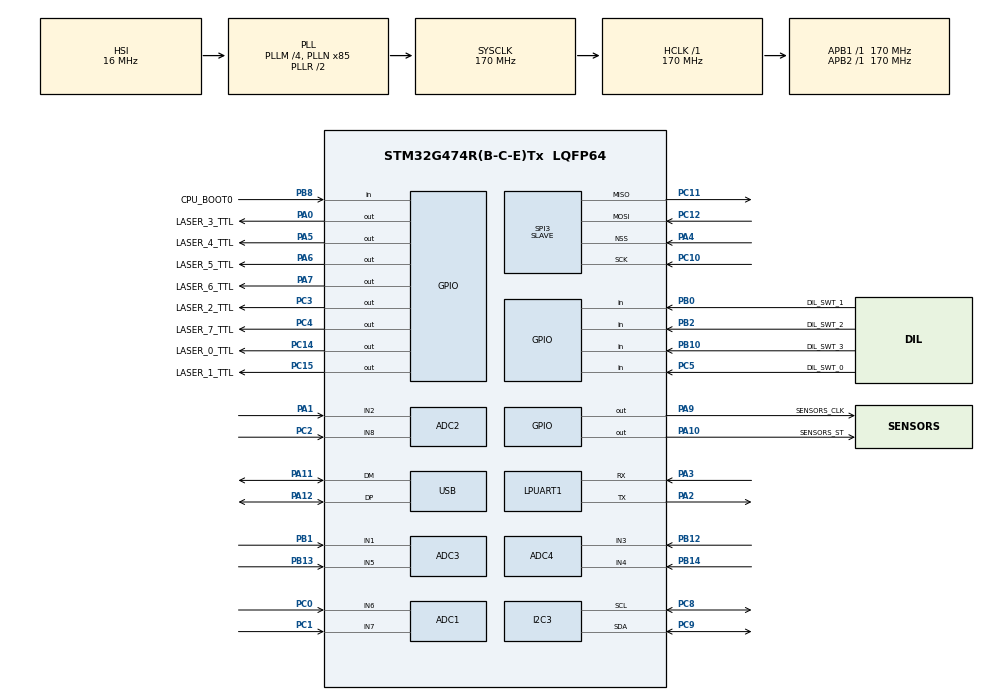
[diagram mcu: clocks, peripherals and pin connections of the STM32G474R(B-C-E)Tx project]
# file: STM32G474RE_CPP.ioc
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ADC1.Channel-21\#ChannelRegularConversion=ADC_CHANNEL_6
ADC1.NbrOfConversionFlag=1
ADC1.OffsetNumber-21\#ChannelRegularConversion=ADC_OFFSET_NONE
ADC1.Rank-21\#ChannelRegularConversion=1
ADC1.SamplingTime-21\#ChannelRegularConversion=ADC_SAMPLETIME_2CYCLES_5
ADC1.master=1
ADC2.Channel-1\#ChannelRegularConversion=ADC_CHANNEL_8
ADC2.NbrOfConversionFlag=1
ADC2.OffsetNumber-1\#ChannelRegularConversion=ADC_OFFSET_NONE
ADC2.Rank-1\#ChannelRegularConversion=1
ADC2.SamplingTime-1\#ChannelRegularConversion=ADC_SAMPLETIME_2CYCLES_5
ADC3.Channel-2\#ChannelRegularConversion=ADC_CHANNEL_5
ADC3.ExternalTrigConv=ADC_EXTERNALTRIG_T1_TRGO2
ADC3.NbrOfConversionFlag=1
ADC3.OffsetNumber-2\#ChannelRegularConversion=ADC_OFFSET_NONE
ADC3.Rank-2\#ChannelRegularConversion=1
ADC3.SamplingTime-2\#ChannelRegularConversion=ADC_SAMPLETIME_2CYCLES_5
ADC3.master=1
ADC4.Channel-1\#ChannelRegularConversion=ADC_CHANNEL_4
ADC4.ExternalTrigConv=ADC_EXTERNALTRIG_T1_TRGO2
ADC4.NbrOfConversionFlag=1
ADC4.OffsetNumber-1\#ChannelRegularConversion=ADC_OFFSET_NONE
ADC4.Rank-1\#ChannelRegularConversion=1
ADC4.SamplingTime-1\#ChannelRegularConversion=ADC_SAMPLETIME_2CYCLES_5
Dma.ADC1.0.Direction=DMA_PERIPH_TO_MEMORY
Dma.ADC1.0.EventEnable=DISABLE
Dma.ADC1.0.Instance=DMA1_Channel1
Dma.ADC1.0.MemDataAlignment=DMA_MDATAALIGN_HALFWORD
Dma.ADC1.0.MemInc=DMA_MINC_ENABLE
Dma.ADC1.0.Mode=DMA_NORMAL
Dma.ADC1.0.PeriphDataAlignment=DMA_PDATAALIGN_HALFWORD
Dma.ADC1.0.PeriphInc=DMA_PINC_DISABLE
Dma.ADC1.0.Polarity=HAL_DMAMUX_REQ_GEN_RISING
Dma.ADC1.0.Priority=DMA_PRIORITY_HIGH
Dma.ADC1.0.RequestNumber=1
Dma.ADC1.0.SignalID=NONE
Dma.ADC1.0.SyncEnable=DISABLE
Dma.ADC1.0.SyncPolarity=HAL_DMAMUX_SYNC_NO_EVENT
Dma.ADC1.0.SyncRequestNumber=1
Dma.ADC1.0.SyncSignalID=NONE
Dma.ADC2.1.Direction=DMA_PERIPH_TO_MEMORY
Dma.ADC2.1.EventEnable=DISABLE
Dma.ADC2.1.Instance=DMA1_Channel2
Dma.ADC2.1.MemDataAlignment=DMA_MDATAALIGN_HALFWORD
Dma.ADC2.1.MemInc=DMA_MINC_ENABLE
Dma.ADC2.1.Mode=DMA_NORMAL
Dma.ADC2.1.PeriphDataAlignment=DMA_PDATAALIGN_HALFWORD
Dma.ADC2.1.PeriphInc=DMA_PINC_DISABLE
Dma.ADC2.1.Polarity=HAL_DMAMUX_REQ_GEN_RISING
Dma.ADC2.1.Priority=DMA_PRIORITY_HIGH
Dma.ADC2.1.RequestNumber=1
Dma.ADC2.1.SignalID=NONE
Dma.ADC2.1.SyncEnable=DISABLE
Dma.ADC2.1.SyncPolarity=HAL_DMAMUX_SYNC_NO_EVENT
Dma.ADC2.1.SyncRequestNumber=1
Dma.ADC2.1.SyncSignalID=NONE
Dma.ADC3.2.Direction=DMA_PERIPH_TO_MEMORY
Dma.ADC3.2.EventEnable=DISABLE
Dma.ADC3.2.Instance=DMA1_Channel3
Dma.ADC3.2.MemDataAlignment=DMA_MDATAALIGN_HALFWORD
Dma.ADC3.2.MemInc=DMA_MINC_ENABLE
Dma.ADC3.2.Mode=DMA_NORMAL
Dma.ADC3.2.PeriphDataAlignment=DMA_PDATAALIGN_HALFWORD
Dma.ADC3.2.PeriphInc=DMA_PINC_DISABLE
Dma.ADC3.2.Polarity=HAL_DMAMUX_REQ_GEN_RISING
Dma.ADC3.2.Priority=DMA_PRIORITY_HIGH
Dma.ADC3.2.RequestNumber=1
Dma.ADC3.2.SignalID=NONE
Dma.ADC3.2.SyncEnable=DISABLE
Dma.ADC3.2.SyncPolarity=HAL_DMAMUX_SYNC_NO_EVENT
Dma.ADC3.2.SyncRequestNumber=1
Dma.ADC3.2.SyncSignalID=NONE
Dma.ADC4.3.Direction=DMA_PERIPH_TO_MEMORY
Dma.ADC4.3.EventEnable=DISABLE
Dma.ADC4.3.Instance=DMA1_Channel4
Dma.ADC4.3.MemDataAlignment=DMA_MDATAALIGN_HALFWORD
Dma.ADC4.3.MemInc=DMA_MINC_ENABLE
Dma.ADC4.3.Mode=DMA_NORMAL
Dma.ADC4.3.PeriphDataAlignment=DMA_PDATAALIGN_HALFWORD
Dma.ADC4.3.PeriphInc=DMA_PINC_DISABLE
Dma.ADC4.3.Polarity=HAL_DMAMUX_REQ_GEN_RISING
Dma.ADC4.3.Priority=DMA_PRIORITY_HIGH
Dma.ADC4.3.RequestNumber=1
Dma.ADC4.3.SignalID=NONE
Dma.ADC4.3.SyncEnable=DISABLE
Dma.ADC4.3.SyncPolarity=HAL_DMAMUX_SYNC_NO_EVENT
Dma.ADC4.3.SyncRequestNumber=1
Dma.ADC4.3.SyncSignalID=NONE
Dma.Request0=ADC1
Dma.Request1=ADC2
Dma.Request2=ADC3
Dma.Request3=ADC4
Dma.Request4=SPI3_RX
Dma.Request5=SPI3_TX
Dma.SPI3_RX.4.Direction=DMA_PERIPH_TO_MEMORY
Dma.SPI3_RX.4.EventEnable=DISABLE
Dma.SPI3_RX.4.Instance=DMA1_Channel5
Dma.SPI3_RX.4.MemDataAlignment=DMA_MDATAALIGN_BYTE
Dma.SPI3_RX.4.MemInc=DMA_MINC_ENABLE
Dma.SPI3_RX.4.Mode=DMA_NORMAL
Dma.SPI3_RX.4.PeriphDataAlignment=DMA_PDATAALIGN_BYTE
Dma.SPI3_RX.4.PeriphInc=DMA_PINC_DISABLE
Dma.SPI3_RX.4.Polarity=HAL_DMAMUX_REQ_GEN_RISING
Dma.SPI3_RX.4.Priority=DMA_PRIORITY_MEDIUM
Dma.SPI3_RX.4.RequestNumber=1
Dma.SPI3_RX.4.SignalID=NONE
Dma.SPI3_RX.4.SyncEnable=DISABLE
Dma.SPI3_RX.4.SyncPolarity=HAL_DMAMUX_SYNC_NO_EVENT
Dma.SPI3_RX.4.SyncRequestNumber=1
Dma.SPI3_RX.4.SyncSignalID=NONE
Dma.SPI3_TX.5.Direction=DMA_MEMORY_TO_PERIPH
Dma.SPI3_TX.5.EventEnable=DISABLE
Dma.SPI3_TX.5.Instance=DMA1_Channel6
Dma.SPI3_TX.5.MemDataAlignment=DMA_MDATAALIGN_BYTE
Dma.SPI3_TX.5.MemInc=DMA_MINC_ENABLE
Dma.SPI3_TX.5.Mode=DMA_NORMAL
Dma.SPI3_TX.5.PeriphDataAlignment=DMA_PDATAALIGN_BYTE
Dma.SPI3_TX.5.PeriphInc=DMA_PINC_DISABLE
Dma.SPI3_TX.5.Polarity=HAL_DMAMUX_REQ_GEN_RISING
Dma.SPI3_TX.5.Priority=DMA_PRIORITY_MEDIUM
Dma.SPI3_TX.5.RequestNumber=1
Dma.SPI3_TX.5.SignalID=NONE
Dma.SPI3_TX.5.SyncEnable=DISABLE
Dma.SPI3_TX.5.SyncPolarity=HAL_DMAMUX_SYNC_NO_EVENT
Dma.SPI3_TX.5.SyncRequestNumber=1
Dma.SPI3_TX.5.SyncSignalID=NONE
I2C3.Timing=0x40B285C2
Mcu.Family=STM32G4
Mcu.Name=STM32G474R(B-C-E)Tx
Mcu.Package=LQFP64
NUCLEO-G474RE.BUTTON=0
NUCLEO-G474RE.Bsp_Common_DEMO=true
NUCLEO-G474RE.LD2=false
NUCLEO-G474RE.VCP=false
NVIC.DMA1_Channel1_IRQn=true\:0\:0\:false\:false\:true\:false\:true\:true
NVIC.DMA1_Channel2_IRQn=true\:0\:0\:false\:false\:true\:false\:true\:true
NVIC.DMA1_Channel3_IRQn=true\:0\:0\:false\:false\:true\:false\:true\:true
NVIC.DMA1_Channel4_IRQn=true\:0\:0\:false\:false\:true\:false\:true\:true
NVIC.DMA1_Channel5_IRQn=true\:0\:0\:false\:false\:true\:false\:true\:true
NVIC.DMA1_Channel6_IRQn=true\:0\:0\:false\:false\:true\:false\:true\:true
NVIC.PriorityGroup=NVIC_PRIORITYGROUP_4
PA0.GPIO_Label=LASER_3_TTL
PA0.Signal=GPIO_Output
PA1.Mode=IN2-Single-Ended
PA1.Signal=ADC2_IN2
PA10.GPIO_Label=SENSORS_ST
PA10.Signal=GPIO_Output
PA11.Mode=Device
PA11.Signal=USB_DM
PA12.Mode=Device
PA12.Signal=USB_DP
PA13.GPIO_Label=T_SWDIO
PA13.Mode=JTAG_5_pins
PA13.Signal=SYS_JTMS-SWDIO
PA14.GPIO_Label=T_SWCLK
PA14.Mode=JTAG_5_pins
PA14.Signal=SYS_JTCK-SWCLK
PA15.Mode=JTAG_5_pins
PA15.Signal=SYS_JTDI
PA2.Mode=Asynchronous
PA2.Signal=LPUART1_TX
PA3.Mode=Asynchronous
PA3.Signal=LPUART1_RX
PA4.Mode=NSS_Signal_Hard_Input
PA4.Signal=SPI3_NSS
PA5.GPIO_Label=LASER_4_TTL
PA5.Signal=GPIO_Output
PA6.GPIO_Label=LASER_5_TTL
PA6.Signal=GPIO_Output
PA7.GPIO_Label=LASER_6_TTL
PA7.Signal=GPIO_Output
PA9.GPIO_Label=SENSORS_CLK
PA9.Signal=GPIO_Output
PB0.GPIO_Label=DIL_SWT_1
PB0.Signal=GPIO_Input
PB1.Mode=IN1-Single-Ended
PB1.Signal=ADC3_IN1
PB10.GPIO_Label=DIL_SWT_3
PB10.Signal=GPIO_Input
PB12.Mode=IN3-Single-Ended
PB12.Signal=ADC4_IN3
PB13.Mode=IN5-Single-Ended
PB13.Signal=ADC3_IN5
PB14.Mode=IN4-Single-Ended
PB14.Signal=ADC4_IN4
PB2.GPIO_Label=DIL_SWT_2
PB2.Signal=GPIO_Input
PB3.Mode=JTAG_5_pins
PB3.Signal=SYS_JTDO-SWO
PB4.Mode=JTAG_5_pins
PB4.Signal=SYS_JTRST
PB8-BOOT0.GPIO_Label=CPU_BOOT0
PB8-BOOT0.Signal=GPIO_Input
PC0.Mode=IN6-Single-Ended
PC0.Signal=ADC1_IN6
PC1.Mode=IN7-Single-Ended
PC1.Signal=ADC1_IN7
PC10.Mode=Full_Duplex_Slave
PC10.Signal=SPI3_SCK
PC11.Mode=Full_Duplex_Slave
PC11.Signal=SPI3_MISO
PC12.Mode=Full_Duplex_Slave
PC12.Signal=SPI3_MOSI
PC14-OSC32_IN.GPIO_Label=LASER_0_TTL
PC14-OSC32_IN.Signal=GPIO_Output
PC15-OSC32_OUT.GPIO_Label=LASER_1_TTL
PC15-OSC32_OUT.Signal=GPIO_Output
PC2.Mode=IN8-Single-Ended
PC2.Signal=ADC2_IN8
PC3.GPIO_Label=LASER_2_TTL
PC3.Signal=GPIO_Output
PC4.GPIO_Label=LASER_7_TTL
PC4.Signal=GPIO_Output
PC5.GPIO_Label=DIL_SWT_0
PC5.Signal=GPIO_Input
PC8.Mode=I2C
PC8.Signal=I2C3_SCL
PC9.Mode=I2C
PC9.Signal=I2C3_SDA
PF0-OSC_IN.Mode=HSE-External-Oscillator
PF0-OSC_IN.Signal=RCC_OSC_IN
PF1-OSC_OUT.Mode=HSE-External-Oscillator
PF1-OSC_OUT.Signal=RCC_OSC_OUT
ProjectManager.HeapSize=0x200
ProjectManager.StackSize=0x400
ProjectManager.TargetToolchain=STM32CubeIDE
RCC.ADC12Freq_Value=170000000
RCC.ADC345Freq_Value=170000000
RCC.AHBFreq_Value=170000000
RCC.APB1Freq_Value=170000000
RCC.APB1TimFreq_Value=170000000
RCC.APB2Freq_Value=170000000
RCC.APB2TimFreq_Value=170000000
RCC.CK48CLockSelection=RCC_USBCLKSOURCE_HSI48
RCC.CortexFreq_Value=170000000
RCC.EXTERNAL_CLOCK_VALUE=12288000
RCC.HCLKFreq_Value=170000000
RCC.HSE_VALUE=24000000
RCC.HSI48_VALUE=48000000
RCC.HSI_VALUE=16000000
RCC.LSE_VALUE=32768
RCC.PLLM=RCC_PLLM_DIV4
RCC.PLLN=85
RCC.RTCClockSelection=RCC_RTCCLKSOURCE_LSE
RCC.SYSCLKFreq_VALUE=170000000
RCC.SYSCLKSource=RCC_SYSCLKSOURCE_PLLCLK
RCC.USBFreq_Value=48000000
RCC.VCOOutputFreq_Value=340000000
SPI3.Direction=SPI_DIRECTION_2LINES
SPI3.Mode=SPI_MODE_SLAVE
SPI3.VirtualNSS=VM_NSSHARD
SPI3.VirtualType=VM_SLAVE
TIM1.AutoReloadPreload=TIM_AUTORELOAD_PRELOAD_ENABLE
TIM1.CounterMode=TIM_COUNTERMODE_UP
TIM1.PeriodNoDither=84
TIM1.Prescaler=0
VP_NUCLEO-G474RE_VS_BSP_COMMON.Mode=COMMON
VP_SYS_VS_DBSignals.Mode=DisableDeadBatterySignals
VP_TIM1_VS_ClockSourceINT.Mode=Internal
VREF+.Mode=InternalMode
VREF+.Signal=VREFBUF_OUT
board=NUCLEO-G474RE

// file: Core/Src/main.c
/* USER CODE BEGIN Header */
/**
  ******************************************************************************
  * @file           : main.c
  * @brief          : Main program body
  ******************************************************************************
  * @attention
  *
  * Copyright (c) 2025 STMicroelectronics.
  * All rights reserved.
  *
  * This software is licensed under terms that can be found in the LICENSE file
  * in the root directory of this software component.
  * If no LICENSE file comes with this software, it is provided AS-IS.
  *
  ******************************************************************************
  */
/* USER CODE END Header */
#include "main.h"

__IO uint32_t BspButtonState = BUTTON_RELEASED;
ADC_HandleTypeDef hadc1;
ADC_HandleTypeDef hadc2;
ADC_HandleTypeDef hadc3;
ADC_HandleTypeDef hadc4;
DMA_HandleTypeDef hdma_adc1;
DMA_HandleTypeDef hdma_adc2;
DMA_HandleTypeDef hdma_adc3;
DMA_HandleTypeDef hdma_adc4;

I2C_HandleTypeDef hi2c3;

UART_HandleTypeDef hlpuart1;

SPI_HandleTypeDef hspi3;
DMA_HandleTypeDef hdma_spi3_rx;
DMA_HandleTypeDef hdma_spi3_tx;

TIM_HandleTypeDef htim1;

PCD_HandleTypeDef hpcd_USB_FS;

void SystemClock_Config(void);
static void MX_GPIO_Init(void);
static void MX_DMA_Init(void);
static void MX_TIM1_Init(void);
static void MX_ADC1_Init(void);
static void MX_ADC2_Init(void);
static void MX_ADC3_Init(void);
static void MX_ADC4_Init(void);
static void MX_SPI3_Init(void);
static void MX_LPUART1_UART_Init(void);
static void MX_I2C3_Init(void);
static void MX_USB_PCD_Init(void);

/* USER CODE BEGIN 0 */

uint16_t ADC_Results[100] = {};
int ADC_Results_Transfer_Count = 100;

int sample_index = 0;
int mux_count =0;

inline void mux_test(int pMux)
{
}

void ccd_clock_pulses(int pNum)
{
	for(int x=0;x<pNum;x++)
	{
//		HAL_GPIO_WritePin(GPIOA, GPIO_CCD_CLK_Pin, GPIO_PIN_SET);
//		HAL_GPIO_WritePin(GPIOA, GPIO_CCD_CLK_Pin, GPIO_PIN_RESET);

		//GPIOB->BRR = GPIO_MUX_0_Pin|GPIO_MUX_1_Pin|GPIO_MUX_2_Pin;

		GPIOB->ODR = (GPIOB->ODR & 0xFFFFFFF8) | mux_count;

		//GPIOA->BSRR = GPIO_CCD_CLK_Pin;

		asm("nop");
		asm("nop");
		asm("nop");
		asm("nop");
		asm("nop");

		asm("nop");
		asm("nop");
		asm("nop");
		asm("nop");
		asm("nop");

		asm("nop");
		asm("nop");
		asm("nop");
		asm("nop");
		asm("nop");

		asm("nop");
		asm("nop");
		asm("nop");
		asm("nop");
		asm("nop");

		asm("nop");
		asm("nop");
		asm("nop");
		asm("nop");
		asm("nop");

		asm("nop");
		asm("nop");
		asm("nop");
		asm("nop");
		asm("nop");

		asm("nop");
		asm("nop");
		asm("nop");
		asm("nop");
		asm("nop");

		asm("nop");
		asm("nop");
		asm("nop");
		asm("nop");
		asm("nop");

		//GPIOA->BRR = GPIO_CCD_CLK_Pin;

		mux_count++;
	}
}

/* USER CODE END 0 */

int main(void)
{

  /* MCU Configuration--------------------------------------------------------*/

  /* Reset of all peripherals, Initializes the Flash interface and the Systick. */
  HAL_Init();

  /* Configure the system clock */
  SystemClock_Config();

  /* Initialize all configured peripherals */
  MX_GPIO_Init();
  MX_DMA_Init();
  MX_TIM1_Init();
  MX_ADC1_Init();
  MX_ADC2_Init();
  MX_ADC3_Init();
  MX_ADC4_Init();
  MX_SPI3_Init();
  MX_LPUART1_UART_Init();
  MX_I2C3_Init();
  MX_USB_PCD_Init();

  /* USER CODE BEGIN BSP */

  /* -- Sample board code to send message over COM1 port ---- */
  printf("Welcome to STM32 world !\n\r");

  /* -- Sample board code to switch on led ---- */
  BSP_LED_On(LED_GREEN);

  HAL_ADC_Start_DMA(&hadc1, (uint32_t *)ADC1_Results, ADC_Results_Transfer_Count);
  HAL_ADC_Start_DMA(&hadc2, (uint32_t *)ADC2_Results, ADC_Results_Transfer_Count);
  HAL_ADC_Start_DMA(&hadc3, (uint32_t *)ADC3_Results, ADC_Results_Transfer_Count);
  HAL_ADC_Start_DMA(&hadc4, (uint32_t *)ADC4_Results, ADC_Results_Transfer_Count);

  if (HAL_TIM_PWM_Start(&htim1, TIM_CHANNEL_1) != HAL_OK)
  {
    Error_Handler();
  }
  __HAL_TIM_SET_COMPARE(&htim1, TIM_CHANNEL_1, 42);

  if (HAL_TIM_PWM_Start(&htim1, TIM_CHANNEL_2) != HAL_OK)
  {
    Error_Handler();
  }
  __HAL_TIM_SET_COMPARE(&htim1, TIM_CHANNEL_2, 52);

  /* USER CODE END BSP */

  /* Infinite loop */
  /* USER CODE BEGIN WHILE */
  while (1)
  {

    /* -- Sample board code for User push-button in interrupt mode ---- */
    if (BspButtonState == BUTTON_PRESSED)
    {
      /* Update button state */
      BspButtonState = BUTTON_RELEASED;
      /* -- Sample board code to toggle led ---- */
      BSP_LED_Toggle(LED_GREEN);

      /* ..... Perform your action ..... */
    }
    /* USER CODE END WHILE */

    /* USER CODE BEGIN 3 */

    //HAL_GPIO_WritePin(GPIOA, GPIO_CCD_ST_Pin, GPIO_PIN_SET);

    //ccd_clock_pulses(16);

    //HAL_GPIO_WritePin(GPIOA, GPIO_CCD_ST_Pin, GPIO_PIN_RESET);

    //ccd_clock_pulses(12);

    //ccd_clock_pulses(1536);

    //ccd_clock_pulses(16);
  }
  /* USER CODE END 3 */
}

void SystemClock_Config(void)
{
  RCC_OscInitTypeDef RCC_OscInitStruct = {0};
  RCC_ClkInitTypeDef RCC_ClkInitStruct = {0};

  /** Configure the main internal regulator output voltage
  */
  HAL_PWREx_ControlVoltageScaling(PWR_REGULATOR_VOLTAGE_SCALE1_BOOST);

  /** Initializes the RCC Oscillators according to the specified parameters
  * in the RCC_OscInitTypeDef structure.
  */
  RCC_OscInitStruct.OscillatorType = RCC_OSCILLATORTYPE_HSI|RCC_OSCILLATORTYPE_HSI48;
  RCC_OscInitStruct.HSIState = RCC_HSI_ON;
  RCC_OscInitStruct.HSICalibrationValue = RCC_HSICALIBRATION_DEFAULT;
  RCC_OscInitStruct.HSI48State = RCC_HSI48_ON;
  RCC_OscInitStruct.PLL.PLLState = RCC_PLL_ON;
  RCC_OscInitStruct.PLL.PLLSource = RCC_PLLSOURCE_HSI;
  RCC_OscInitStruct.PLL.PLLM = RCC_PLLM_DIV4;
  RCC_OscInitStruct.PLL.PLLN = 85;
  RCC_OscInitStruct.PLL.PLLP = RCC_PLLP_DIV2;
  RCC_OscInitStruct.PLL.PLLQ = RCC_PLLQ_DIV2;
  RCC_OscInitStruct.PLL.PLLR = RCC_PLLR_DIV2;
  if (HAL_RCC_OscConfig(&RCC_OscInitStruct) != HAL_OK)
  {
    Error_Handler();
  }

  /** Initializes the CPU, AHB and APB buses clocks
  */
  RCC_ClkInitStruct.ClockType = RCC_CLOCKTYPE_HCLK|RCC_CLOCKTYPE_SYSCLK
                              |RCC_CLOCKTYPE_PCLK1|RCC_CLOCKTYPE_PCLK2;
  RCC_ClkInitStruct.SYSCLKSource = RCC_SYSCLKSOURCE_PLLCLK;
  RCC_ClkInitStruct.AHBCLKDivider = RCC_SYSCLK_DIV1;
  RCC_ClkInitStruct.APB1CLKDivider = RCC_HCLK_DIV1;
  RCC_ClkInitStruct.APB2CLKDivider = RCC_HCLK_DIV1;

  if (HAL_RCC_ClockConfig(&RCC_ClkInitStruct, FLASH_LATENCY_4) != HAL_OK)
  {
    Error_Handler();
  }
}

static void MX_ADC1_Init(void)
{

  ADC_MultiModeTypeDef multimode = {0};
  ADC_ChannelConfTypeDef sConfig = {0};

  /** Common config
  */
  hadc1.Instance = ADC1;
  hadc1.Init.ClockPrescaler = ADC_CLOCK_SYNC_PCLK_DIV4;
  hadc1.Init.Resolution = ADC_RESOLUTION_12B;
  hadc1.Init.DataAlign = ADC_DATAALIGN_RIGHT;
  hadc1.Init.GainCompensation = 0;
  hadc1.Init.ScanConvMode = ADC_SCAN_DISABLE;
  hadc1.Init.EOCSelection = ADC_EOC_SINGLE_CONV;
  hadc1.Init.LowPowerAutoWait = DISABLE;
  hadc1.Init.ContinuousConvMode = DISABLE;
  hadc1.Init.NbrOfConversion = 1;
  hadc1.Init.DiscontinuousConvMode = DISABLE;
  hadc1.Init.ExternalTrigConv = ADC_SOFTWARE_START;
  hadc1.Init.ExternalTrigConvEdge = ADC_EXTERNALTRIGCONVEDGE_NONE;
  hadc1.Init.DMAContinuousRequests = DISABLE;
  hadc1.Init.Overrun = ADC_OVR_DATA_PRESERVED;
  hadc1.Init.OversamplingMode = DISABLE;
  if (HAL_ADC_Init(&hadc1) != HAL_OK)
  {
    Error_Handler();
  }

  /** Configure the ADC multi-mode
  */
  multimode.Mode = ADC_MODE_INDEPENDENT;
  if (HAL_ADCEx_MultiModeConfigChannel(&hadc1, &multimode) != HAL_OK)
  {
    Error_Handler();
  }

  /** Configure Regular Channel
  */
  sConfig.Channel = ADC_CHANNEL_6;
  sConfig.Rank = ADC_REGULAR_RANK_1;
  sConfig.SamplingTime = ADC_SAMPLETIME_2CYCLES_5;
  sConfig.SingleDiff = ADC_SINGLE_ENDED;
  sConfig.OffsetNumber = ADC_OFFSET_NONE;
  sConfig.Offset = 0;
  if (HAL_ADC_ConfigChannel(&hadc1, &sConfig) != HAL_OK)
  {
    Error_Handler();
  }

}

static void MX_ADC2_Init(void)
{

  ADC_ChannelConfTypeDef sConfig = {0};

  /** Common config
  */
  hadc2.Instance = ADC2;
  hadc2.Init.ClockPrescaler = ADC_CLOCK_SYNC_PCLK_DIV4;
  hadc2.Init.Resolution = ADC_RESOLUTION_12B;
  hadc2.Init.DataAlign = ADC_DATAALIGN_RIGHT;
  hadc2.Init.GainCompensation = 0;
  hadc2.Init.ScanConvMode = ADC_SCAN_DISABLE;
  hadc2.Init.EOCSelection = ADC_EOC_SINGLE_CONV;
  hadc2.Init.LowPowerAutoWait = DISABLE;
  hadc2.Init.ContinuousConvMode = DISABLE;
  hadc2.Init.NbrOfConversion = 1;
  hadc2.Init.DiscontinuousConvMode = DISABLE;
  hadc2.Init.ExternalTrigConv = ADC_SOFTWARE_START;
  hadc2.Init.ExternalTrigConvEdge = ADC_EXTERNALTRIGCONVEDGE_NONE;
  hadc2.Init.DMAContinuousRequests = DISABLE;
  hadc2.Init.Overrun = ADC_OVR_DATA_PRESERVED;
  hadc2.Init.OversamplingMode = DISABLE;
  if (HAL_ADC_Init(&hadc2) != HAL_OK)
  {
    Error_Handler();
  }

  /** Configure Regular Channel
  */
  sConfig.Channel = ADC_CHANNEL_8;
  sConfig.Rank = ADC_REGULAR_RANK_1;
  sConfig.SamplingTime = ADC_SAMPLETIME_2CYCLES_5;
  sConfig.SingleDiff = ADC_SINGLE_ENDED;
  sConfig.OffsetNumber = ADC_OFFSET_NONE;
  sConfig.Offset = 0;
  if (HAL_ADC_ConfigChannel(&hadc2, &sConfig) != HAL_OK)
  {
    Error_Handler();
  }

}

static void MX_ADC3_Init(void)
{

  ADC_MultiModeTypeDef multimode = {0};
  ADC_ChannelConfTypeDef sConfig = {0};

  /** Common config
  */
  hadc3.Instance = ADC3;
  hadc3.Init.ClockPrescaler = ADC_CLOCK_SYNC_PCLK_DIV4;
  hadc3.Init.Resolution = ADC_RESOLUTION_12B;
  hadc3.Init.DataAlign = ADC_DATAALIGN_RIGHT;
  hadc3.Init.GainCompensation = 0;
  hadc3.Init.ScanConvMode = ADC_SCAN_DISABLE;
  hadc3.Init.EOCSelection = ADC_EOC_SINGLE_CONV;
  hadc3.Init.LowPowerAutoWait = DISABLE;
  hadc3.Init.ContinuousConvMode = DISABLE;
  hadc3.Init.NbrOfConversion = 1;
  hadc3.Init.DiscontinuousConvMode = DISABLE;
  hadc3.Init.ExternalTrigConv = ADC_EXTERNALTRIG_T1_TRGO2;
  hadc3.Init.ExternalTrigConvEdge = ADC_EXTERNALTRIGCONVEDGE_RISING;
  hadc3.Init.DMAContinuousRequests = DISABLE;
  hadc3.Init.Overrun = ADC_OVR_DATA_PRESERVED;
  hadc3.Init.OversamplingMode = DISABLE;
  if (HAL_ADC_Init(&hadc3) != HAL_OK)
  {
    Error_Handler();
  }

  /** Configure the ADC multi-mode
  */
  multimode.Mode = ADC_MODE_INDEPENDENT;
  if (HAL_ADCEx_MultiModeConfigChannel(&hadc3, &multimode) != HAL_OK)
  {
    Error_Handler();
  }

  /** Configure Regular Channel
  */
  sConfig.Channel = ADC_CHANNEL_5;
  sConfig.Rank = ADC_REGULAR_RANK_1;
  sConfig.SamplingTime = ADC_SAMPLETIME_2CYCLES_5;
  sConfig.SingleDiff = ADC_SINGLE_ENDED;
  sConfig.OffsetNumber = ADC_OFFSET_NONE;
  sConfig.Offset = 0;
  if (HAL_ADC_ConfigChannel(&hadc3, &sConfig) != HAL_OK)
  {
    Error_Handler();
  }

}

static void MX_ADC4_Init(void)
{

  ADC_ChannelConfTypeDef sConfig = {0};

  /** Common config
  */
  hadc4.Instance = ADC4;
  hadc4.Init.ClockPrescaler = ADC_CLOCK_SYNC_PCLK_DIV4;
  hadc4.Init.Resolution = ADC_RESOLUTION_12B;
  hadc4.Init.DataAlign = ADC_DATAALIGN_RIGHT;
  hadc4.Init.GainCompensation = 0;
  hadc4.Init.ScanConvMode = ADC_SCAN_DISABLE;
  hadc4.Init.EOCSelection = ADC_EOC_SINGLE_CONV;
  hadc4.Init.LowPowerAutoWait = DISABLE;
  hadc4.Init.ContinuousConvMode = DISABLE;
  hadc4.Init.NbrOfConversion = 1;
  hadc4.Init.DiscontinuousConvMode = DISABLE;
  hadc4.Init.ExternalTrigConv = ADC_EXTERNALTRIG_T1_TRGO2;
  hadc4.Init.ExternalTrigConvEdge = ADC_EXTERNALTRIGCONVEDGE_RISING;
  hadc4.Init.DMAContinuousRequests = DISABLE;
  hadc4.Init.Overrun = ADC_OVR_DATA_PRESERVED;
  hadc4.Init.OversamplingMode = DISABLE;
  if (HAL_ADC_Init(&hadc4) != HAL_OK)
  {
    Error_Handler();
  }

  /** Configure Regular Channel
  */
  sConfig.Channel = ADC_CHANNEL_4;
  sConfig.Rank = ADC_REGULAR_RANK_1;
  sConfig.SamplingTime = ADC_SAMPLETIME_2CYCLES_5;
  sConfig.SingleDiff = ADC_SINGLE_ENDED;
  sConfig.OffsetNumber = ADC_OFFSET_NONE;
  sConfig.Offset = 0;
  if (HAL_ADC_ConfigChannel(&hadc4, &sConfig) != HAL_OK)
  {
    Error_Handler();
  }

}

static void MX_I2C3_Init(void)
{

  hi2c3.Instance = I2C3;
  hi2c3.Init.Timing = 0x40B285C2;
  hi2c3.Init.OwnAddress1 = 0;
  hi2c3.Init.AddressingMode = I2C_ADDRESSINGMODE_7BIT;
  hi2c3.Init.DualAddressMode = I2C_DUALADDRESS_DISABLE;
  hi2c3.Init.OwnAddress2 = 0;
  hi2c3.Init.OwnAddress2Masks = I2C_OA2_NOMASK;
  hi2c3.Init.GeneralCallMode = I2C_GENERALCALL_DISABLE;
  hi2c3.Init.NoStretchMode = I2C_NOSTRETCH_DISABLE;
  if (HAL_I2C_Init(&hi2c3) != HAL_OK)
  {
    Error_Handler();
  }

  /** Configure Analogue filter
  */
  if (HAL_I2CEx_ConfigAnalogFilter(&hi2c3, I2C_ANALOGFILTER_ENABLE) != HAL_OK)
  {
    Error_Handler();
  }

  /** Configure Digital filter
  */
  if (HAL_I2CEx_ConfigDigitalFilter(&hi2c3, 0) != HAL_OK)
  {
    Error_Handler();
  }

}

static void MX_LPUART1_UART_Init(void)
{

  hlpuart1.Instance = LPUART1;
  hlpuart1.Init.BaudRate = 209700;
  hlpuart1.Init.WordLength = UART_WORDLENGTH_8B;
  hlpuart1.Init.StopBits = UART_STOPBITS_1;
  hlpuart1.Init.Parity = UART_PARITY_NONE;
  hlpuart1.Init.Mode = UART_MODE_TX_RX;
  hlpuart1.Init.HwFlowCtl = UART_HWCONTROL_NONE;
  hlpuart1.Init.OneBitSampling = UART_ONE_BIT_SAMPLE_DISABLE;
  hlpuart1.Init.ClockPrescaler = UART_PRESCALER_DIV1;
  hlpuart1.AdvancedInit.AdvFeatureInit = UART_ADVFEATURE_NO_INIT;
  if (HAL_UART_Init(&hlpuart1) != HAL_OK)
  {
    Error_Handler();
  }
  if (HAL_UARTEx_SetTxFifoThreshold(&hlpuart1, UART_TXFIFO_THRESHOLD_1_8) != HAL_OK)
  {
    Error_Handler();
  }
  if (HAL_UARTEx_SetRxFifoThreshold(&hlpuart1, UART_RXFIFO_THRESHOLD_1_8) != HAL_OK)
  {
    Error_Handler();
  }
  if (HAL_UARTEx_DisableFifoMode(&hlpuart1) != HAL_OK)
  {
    Error_Handler();
  }

}

static void MX_SPI3_Init(void)
{

  /* SPI3 parameter configuration*/
  hspi3.Instance = SPI3;
  hspi3.Init.Mode = SPI_MODE_SLAVE;
  hspi3.Init.Direction = SPI_DIRECTION_2LINES;
  hspi3.Init.DataSize = SPI_DATASIZE_4BIT;
  hspi3.Init.CLKPolarity = SPI_POLARITY_LOW;
  hspi3.Init.CLKPhase = SPI_PHASE_1EDGE;
  hspi3.Init.NSS = SPI_NSS_HARD_INPUT;
  hspi3.Init.FirstBit = SPI_FIRSTBIT_MSB;
  hspi3.Init.TIMode = SPI_TIMODE_DISABLE;
  hspi3.Init.CRCCalculation = SPI_CRCCALCULATION_DISABLE;
  hspi3.Init.CRCPolynomial = 7;
  hspi3.Init.CRCLength = SPI_CRC_LENGTH_DATASIZE;
  hspi3.Init.NSSPMode = SPI_NSS_PULSE_DISABLE;
  if (HAL_SPI_Init(&hspi3) != HAL_OK)
  {
    Error_Handler();
  }

}

static void MX_TIM1_Init(void)
{

  TIM_ClockConfigTypeDef sClockSourceConfig = {0};
  TIM_MasterConfigTypeDef sMasterConfig = {0};

  htim1.Instance = TIM1;
  htim1.Init.Prescaler = 0;
  htim1.Init.CounterMode = TIM_COUNTERMODE_UP;
  htim1.Init.Period = 84;
  htim1.Init.ClockDivision = TIM_CLOCKDIVISION_DIV1;
  htim1.Init.RepetitionCounter = 0;
  htim1.Init.AutoReloadPreload = TIM_AUTORELOAD_PRELOAD_ENABLE;
  if (HAL_TIM_Base_Init(&htim1) != HAL_OK)
  {
    Error_Handler();
  }
  sClockSourceConfig.ClockSource = TIM_CLOCKSOURCE_INTERNAL;
  if (HAL_TIM_ConfigClockSource(&htim1, &sClockSourceConfig) != HAL_OK)
  {
    Error_Handler();
  }
  sMasterConfig.MasterOutputTrigger = TIM_TRGO_RESET;
  sMasterConfig.MasterOutputTrigger2 = TIM_TRGO2_RESET;
  sMasterConfig.MasterSlaveMode = TIM_MASTERSLAVEMODE_DISABLE;
  if (HAL_TIMEx_MasterConfigSynchronization(&htim1, &sMasterConfig) != HAL_OK)
  {
    Error_Handler();
  }

}

static void MX_USB_PCD_Init(void)
{

  hpcd_USB_FS.Instance = USB;
  hpcd_USB_FS.Init.dev_endpoints = 8;
  hpcd_USB_FS.Init.speed = PCD_SPEED_FULL;
  hpcd_USB_FS.Init.phy_itface = PCD_PHY_EMBEDDED;
  hpcd_USB_FS.Init.Sof_enable = DISABLE;
  hpcd_USB_FS.Init.low_power_enable = DISABLE;
  hpcd_USB_FS.Init.lpm_enable = DISABLE;
  hpcd_USB_FS.Init.battery_charging_enable = DISABLE;
  if (HAL_PCD_Init(&hpcd_USB_FS) != HAL_OK)
  {
    Error_Handler();
  }

}

static void MX_DMA_Init(void)
{

  /* DMA controller clock enable */
  __HAL_RCC_DMAMUX1_CLK_ENABLE();
  __HAL_RCC_DMA1_CLK_ENABLE();

  /* DMA interrupt init */
  /* DMA1_Channel1_IRQn interrupt configuration */
  HAL_NVIC_SetPriority(DMA1_Channel1_IRQn, 0, 0);
  HAL_NVIC_EnableIRQ(DMA1_Channel1_IRQn);
  /* DMA1_Channel2_IRQn interrupt configuration */
  HAL_NVIC_SetPriority(DMA1_Channel2_IRQn, 0, 0);
  HAL_NVIC_EnableIRQ(DMA1_Channel2_IRQn);
  /* DMA1_Channel3_IRQn interrupt configuration */
  HAL_NVIC_SetPriority(DMA1_Channel3_IRQn, 0, 0);
  HAL_NVIC_EnableIRQ(DMA1_Channel3_IRQn);
  /* DMA1_Channel4_IRQn interrupt configuration */
  HAL_NVIC_SetPriority(DMA1_Channel4_IRQn, 0, 0);
  HAL_NVIC_EnableIRQ(DMA1_Channel4_IRQn);
  /* DMA1_Channel5_IRQn interrupt configuration */
  HAL_NVIC_SetPriority(DMA1_Channel5_IRQn, 0, 0);
  HAL_NVIC_EnableIRQ(DMA1_Channel5_IRQn);
  /* DMA1_Channel6_IRQn interrupt configuration */
  HAL_NVIC_SetPriority(DMA1_Channel6_IRQn, 0, 0);
  HAL_NVIC_EnableIRQ(DMA1_Channel6_IRQn);

}

static void MX_GPIO_Init(void)
{
  GPIO_InitTypeDef GPIO_InitStruct = {0};

  /* GPIO Ports Clock Enable */
  __HAL_RCC_GPIOC_CLK_ENABLE();
  __HAL_RCC_GPIOF_CLK_ENABLE();
  __HAL_RCC_GPIOA_CLK_ENABLE();
  __HAL_RCC_GPIOB_CLK_ENABLE();

  /*Configure GPIO pin Output Level */
  HAL_GPIO_WritePin(GPIOC, LASER_0_TTL_Pin|LASER_1_TTL_Pin|LASER_2_TTL_Pin|LASER_7_TTL_Pin, GPIO_PIN_RESET);

  /*Configure GPIO pin Output Level */
  HAL_GPIO_WritePin(GPIOA, LASER_3_TTL_Pin|LASER_4_TTL_Pin|LASER_5_TTL_Pin|LASER_6_TTL_Pin
                          |SENSORS_CLK_Pin|SENSORS_ST_Pin, GPIO_PIN_RESET);

  /*Configure GPIO pins : LASER_0_TTL_Pin LASER_1_TTL_Pin LASER_2_TTL_Pin LASER_7_TTL_Pin */
  GPIO_InitStruct.Pin = LASER_0_TTL_Pin|LASER_1_TTL_Pin|LASER_2_TTL_Pin|LASER_7_TTL_Pin;
  GPIO_InitStruct.Mode = GPIO_MODE_OUTPUT_PP;
  GPIO_InitStruct.Pull = GPIO_NOPULL;
  GPIO_InitStruct.Speed = GPIO_SPEED_FREQ_LOW;
  HAL_GPIO_Init(GPIOC, &GPIO_InitStruct);

  /*Configure GPIO pins : LASER_3_TTL_Pin LASER_4_TTL_Pin LASER_5_TTL_Pin LASER_6_TTL_Pin
                           SENSORS_CLK_Pin SENSORS_ST_Pin */
  GPIO_InitStruct.Pin = LASER_3_TTL_Pin|LASER_4_TTL_Pin|LASER_5_TTL_Pin|LASER_6_TTL_Pin
                          |SENSORS_CLK_Pin|SENSORS_ST_Pin;
  GPIO_InitStruct.Mode = GPIO_MODE_OUTPUT_PP;
  GPIO_InitStruct.Pull = GPIO_NOPULL;
  GPIO_InitStruct.Speed = GPIO_SPEED_FREQ_LOW;
  HAL_GPIO_Init(GPIOA, &GPIO_InitStruct);

  /*Configure GPIO pin : DIL_SWT_0_Pin */
  GPIO_InitStruct.Pin = DIL_SWT_0_Pin;
  GPIO_InitStruct.Mode = GPIO_MODE_INPUT;
  GPIO_InitStruct.Pull = GPIO_NOPULL;
  HAL_GPIO_Init(DIL_SWT_0_GPIO_Port, &GPIO_InitStruct);

  /*Configure GPIO pins : DIL_SWT_1_Pin DIL_SWT_2_Pin DIL_SWT_3_Pin CPU_BOOT0_Pin */
  GPIO_InitStruct.Pin = DIL_SWT_1_Pin|DIL_SWT_2_Pin|DIL_SWT_3_Pin|CPU_BOOT0_Pin;
  GPIO_InitStruct.Mode = GPIO_MODE_INPUT;
  GPIO_InitStruct.Pull = GPIO_NOPULL;
  HAL_GPIO_Init(GPIOB, &GPIO_InitStruct);

}

void Error_Handler(void)
{
  __disable_irq();
  while (1)
  {
  }
}
